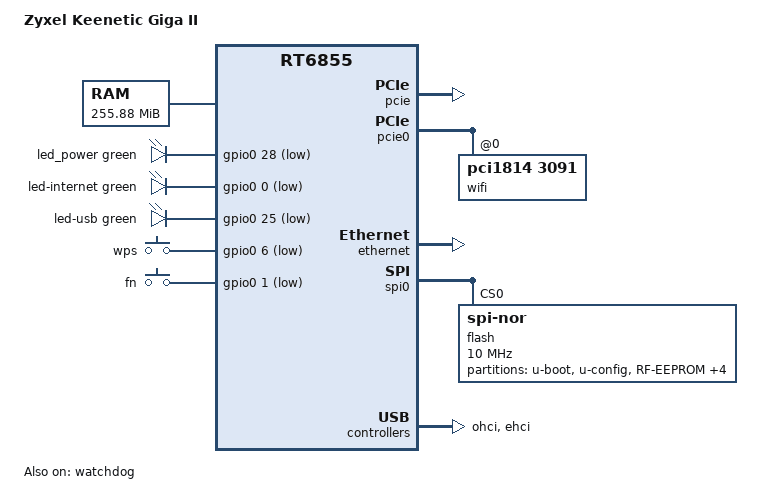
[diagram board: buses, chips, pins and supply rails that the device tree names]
// SPDX-License-Identifier: GPL-2.0-or-later OR MIT
/dts-v1/;

#include <dt-bindings/gpio/gpio.h>
#include <dt-bindings/input/input.h>
#include <dt-bindings/leds/common.h>

#include "rt6855.dtsi"

/ {
	compatible = "zyxel,keenetic-giga-ii", "ralink,rt6855-soc";
	model = "Zyxel Keenetic Giga II";

	aliases {
		led-boot = &led_power;
		led-failsafe = &led_power;
		led-running = &led_power;
		led-upgrade = &led_power;
	};

	memory@20000 {
		device_type = "memory";
		reg = <0x00020000 0x0ffe0000>;
	};

	chosen {
		bootargs = "console=ttyS0,57600";
	};

	leds {
		compatible = "gpio-leds";

		led_power: led-power {
			function = LED_FUNCTION_POWER;
			color = <LED_COLOR_ID_GREEN>;
			gpios = <&gpio0 28 GPIO_ACTIVE_LOW>;
		};

		led-internet {
			function = LED_FUNCTION_WAN;
			color = <LED_COLOR_ID_GREEN>;
			gpios = <&gpio0 0 GPIO_ACTIVE_LOW>;
		};

		led-usb {
			function = LED_FUNCTION_USB;
			color = <LED_COLOR_ID_GREEN>;
			gpios = <&gpio0 25 GPIO_ACTIVE_LOW>;
			trigger-sources = <&ohci_port1>, <&ohci_port2>,
					  <&ehci_port1>, <&ehci_port2>;
			linux,default-trigger = "usbport";
		};
	};

	keys {
		compatible = "gpio-keys-polled";
		poll-interval = <20>;

		button-wps {
			label = "wps";
			gpios = <&gpio0 6 GPIO_ACTIVE_LOW>;
			linux,code = <KEY_WPS_BUTTON>;
		};

		button-fn {
			label = "fn";
			gpios = <&gpio0 1 GPIO_ACTIVE_LOW>;
			linux,code = <BTN_0>;
		};
	};

	rtl8367rb {
		compatible = "realtek,rtl8367b";
		mii-bus = <&mdio0>;
		/* CPU port 6, RGMII, forced 1G/full/pause, TX delay 1, RX delay 2. */
		realtek,extif = <6 1 2 1 1 1 1 1 1 2>;
		realtek,init-regs = <0x1301 0x0778>,
				    <0x1302 0x7777>,
				    <0x1303 0x01fe>,
				    <0x1b03 0x0222>;
	};
};

&pcie {
	status = "okay";
};

&pcie0 {
	wifi@0,0 {
		compatible = "pci1814,3091";
		reg = <0x00000000 0 0 0 0>;
		nvmem-cells = <&eeprom_factory_0>;
		nvmem-cell-names = "eeprom";
		ralink,max-tx-streams = <1>;
		ralink,direct-led-control;
	};
};

&gpio0 {
	status = "okay";
};

&watchdog {
	status = "okay";
};

&ethernet {
	status = "okay";

	nvmem-cells = <&macaddr_factory_4>;
	nvmem-cell-names = "mac-address";

	mdio0: mdio-bus {
		#address-cells = <1>;
		#size-cells = <0>;
		status = "okay";
	};
};

&spi0 {
	status = "okay";

	flash@0 {
		compatible = "jedec,spi-nor";
		reg = <0>;
		spi-max-frequency = <10000000>;

		partitions {
			compatible = "fixed-partitions";
			#address-cells = <1>;
			#size-cells = <1>;

			partition@0 {
				label = "u-boot";
				reg = <0x000000 0x030000>;
				read-only;
			};

			partition@30000 {
				label = "u-config";
				reg = <0x030000 0x010000>;
				read-only;
			};

			factory: partition@40000 {
				label = "RF-EEPROM";
				reg = <0x040000 0x010000>;
				read-only;

				nvmem-layout {
					compatible = "fixed-layout";
					#address-cells = <1>;
					#size-cells = <1>;

					eeprom_factory_0: eeprom@0 {
						reg = <0x0 0x200>;
					};

					macaddr_factory_4: macaddr@4 {
						reg = <0x4 0x6>;
					};
				};
			};

			firmware: partition@50000 {
				compatible = "openwrt,uimage", "denx,uimage";
				label = "firmware";
				reg = <0x050000 0xea0000>;
			};

			partition@ef0000 {
				label = "config";
				reg = <0xef0000 0x010000>;
				read-only;
			};

			partition@f00000 {
				label = "storage";
				reg = <0xf00000 0x0f0000>;
				read-only;
			};

			partition@ff0000 {
				label = "dump";
				reg = <0xff0000 0x010000>;
				read-only;
			};
		};
	};
};

&ohci {
	status = "okay";
};

&ehci {
	status = "okay";
};
